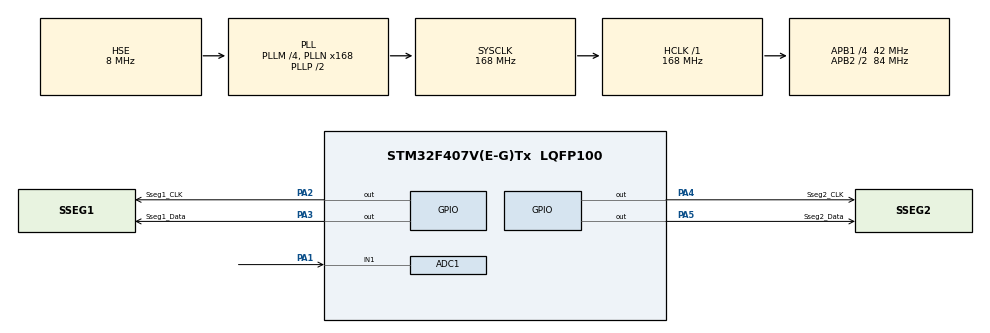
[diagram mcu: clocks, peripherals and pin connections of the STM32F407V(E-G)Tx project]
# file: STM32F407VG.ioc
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ADC1.Channel-2\#ChannelRegularConversion=ADC_CHANNEL_1
ADC1.Channel-3\#ChannelRegularConversion=ADC_CHANNEL_1
ADC1.Channel-4\#ChannelRegularConversion=ADC_CHANNEL_1
ADC1.Channel-5\#ChannelRegularConversion=ADC_CHANNEL_1
ADC1.Channel-6\#ChannelRegularConversion=ADC_CHANNEL_1
ADC1.ContinuousConvMode=ENABLE
ADC1.NbrOfConversion=5
ADC1.NbrOfConversionFlag=1
ADC1.Rank-2\#ChannelRegularConversion=1
ADC1.Rank-3\#ChannelRegularConversion=2
ADC1.Rank-4\#ChannelRegularConversion=3
ADC1.Rank-5\#ChannelRegularConversion=4
ADC1.Rank-6\#ChannelRegularConversion=5
ADC1.SamplingTime-2\#ChannelRegularConversion=ADC_SAMPLETIME_3CYCLES
ADC1.SamplingTime-3\#ChannelRegularConversion=ADC_SAMPLETIME_3CYCLES
ADC1.SamplingTime-4\#ChannelRegularConversion=ADC_SAMPLETIME_3CYCLES
ADC1.SamplingTime-5\#ChannelRegularConversion=ADC_SAMPLETIME_3CYCLES
ADC1.SamplingTime-6\#ChannelRegularConversion=ADC_SAMPLETIME_3CYCLES
ADC1.master=1
Mcu.Family=STM32F4
Mcu.Name=STM32F407V(E-G)Tx
Mcu.Package=LQFP100
NVIC.PriorityGroup=NVIC_PRIORITYGROUP_4
PA1.Signal=ADCx_IN1
PA13.Mode=Serial_Wire
PA13.Signal=SYS_JTMS-SWDIO
PA14.Mode=Serial_Wire
PA14.Signal=SYS_JTCK-SWCLK
PA2.GPIO_Label=Sseg1_CLK
PA2.Signal=GPIO_Output
PA3.GPIO_Label=Sseg1_Data
PA3.Signal=GPIO_Output
PA4.GPIO_Label=Sseg2_CLK
PA4.Signal=GPIO_Output
PA5.GPIO_Label=Sseg2_Data
PA5.Signal=GPIO_Output
PH0-OSC_IN.Mode=HSE-External-Oscillator
PH0-OSC_IN.Signal=RCC_OSC_IN
PH1-OSC_OUT.Mode=HSE-External-Oscillator
PH1-OSC_OUT.Signal=RCC_OSC_OUT
ProjectManager.HeapSize=0x200
ProjectManager.StackSize=0x400
ProjectManager.TargetToolchain=STM32CubeIDE
RCC.48MHZClocksFreq_Value=84000000
RCC.AHBFreq_Value=168000000
RCC.APB1CLKDivider=RCC_HCLK_DIV4
RCC.APB1Freq_Value=42000000
RCC.APB1TimFreq_Value=84000000
RCC.APB2CLKDivider=RCC_HCLK_DIV2
RCC.APB2Freq_Value=84000000
RCC.APB2TimFreq_Value=168000000
RCC.CortexFreq_Value=168000000
RCC.HCLKFreq_Value=168000000
RCC.HSE_VALUE=8000000
RCC.HSI_VALUE=16000000
RCC.LSE_VALUE=32768
RCC.PLLM=4
RCC.PLLN=168
RCC.PLLSourceVirtual=RCC_PLLSOURCE_HSE
RCC.SYSCLKFreq_VALUE=168000000
RCC.SYSCLKSource=RCC_SYSCLKSOURCE_PLLCLK
RCC.VCOOutputFreq_Value=336000000
SH.ADCx_IN1.0=ADC1_IN1,IN1
board=custom

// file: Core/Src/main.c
/* USER CODE BEGIN Header */
/**
 ******************************************************************************
 * @file           : main.c
 * @brief          : Main program body
 ******************************************************************************
 * @attention
 *
 * Copyright (c) 2021 STMicroelectronics.
 * All rights reserved.
 *
 * This software is licensed under terms that can be found in the LICENSE file
 * in the root directory of this software component.
 * If no LICENSE file comes with this software, it is provided AS-IS.
 *
 ******************************************************************************
 */
/* USER CODE END Header */
#include "main.h"
#include "adc.h"
#include "gpio.h"

/* USER CODE BEGIN Includes */
#include "stm32_tm1637.h"
#include <stdio.h>
/* USER CODE END Includes */

/* USER CODE BEGIN PV */
double ADCvalue, Resistance, Voltage, steinhart;
TM1637_structure Sseg1 = { .CLK_GPIO = Sseg1_CLK_GPIO_Port , .CLK_Pin = Sseg1_CLK_Pin , .Data_GPIO = Sseg1_Data_GPIO_Port ,
	.Data_Pin = Sseg1_Data_Pin };
TM1637_structure Sseg2 = { .CLK_GPIO = Sseg2_CLK_GPIO_Port , .CLK_Pin = Sseg2_CLK_Pin , .Data_GPIO = Sseg2_Data_GPIO_Port ,
	.Data_Pin = Sseg2_Data_Pin };
/* USER CODE END PV */

void SystemClock_Config(void);

int main(void)
{

	/* MCU Configuration--------------------------------------------------------*/

	/* Reset of all peripherals, Initializes the Flash interface and the Systick. */
	HAL_Init();

	/* Configure the system clock */
	SystemClock_Config();

	/* Initialize all configured peripherals */
	MX_GPIO_Init();
	MX_ADC1_Init();
	/* USER CODE BEGIN 2 */
	tm1637Init(Sseg1);
	tm1637Init(Sseg2);
	tm1637SetBrightness(Sseg1 , 8);
	tm1637SetBrightness(Sseg2 , 8);
	/* USER CODE END 2 */

	/* Infinite loop */
	/* USER CODE BEGIN WHILE */
	double adc_temp = { 0 };
#define SERIESRESISTOR 10000
#define NOMINAL_RESISTANCE 100000
#define NOMINAL_TEMPERATURE 25
#define BCOEFFICIENT 3950
	while(1)
	{
		for(int var = 0 ; var < 50 ; ++var)
		{
			HAL_ADC_Start(&hadc1);
			HAL_Delay(5);
			adc_temp = HAL_ADC_GetValue(&hadc1);
			ADCvalue += adc_temp;
		}
		ADCvalue /= 50;

//convert value to resistance
		Resistance = (4096 / ADCvalue) - 1;
		Resistance = SERIESRESISTOR / Resistance;

		steinhart = Resistance / NOMINAL_RESISTANCE;// (R/Ro)
		steinhart = log(steinhart);// ln(R/Ro)
		steinhart /= BCOEFFICIENT;// 1/B * ln(R/Ro)
		steinhart += 1.0 / (NOMINAL_TEMPERATURE + 273.15);// + (1/To)
		steinhart = 1.0 / steinhart;// Invert
		steinhart -= 273.15;// convert to C

		Voltage = (ADCvalue * 3.3) / 4096;

		char str[5] = { 0 };
		sprintf(str , "%.4d" , (int) steinhart);
		tm1637Display(Sseg1 , str);
		sprintf(str , "%f" , Voltage);
		tm1637Display(Sseg2 , str);
		HAL_Delay(100);

		/* USER CODE END WHILE */

	}
}

void SystemClock_Config(void)
{
	RCC_OscInitTypeDef RCC_OscInitStruct = { 0 };
	RCC_ClkInitTypeDef RCC_ClkInitStruct = { 0 };

	/** Configure the main internal regulator output voltage
	 */
	__HAL_RCC_PWR_CLK_ENABLE();
	__HAL_PWR_VOLTAGESCALING_CONFIG(PWR_REGULATOR_VOLTAGE_SCALE1);
	/** Initializes the RCC Oscillators according to the specified parameters
	 * in the RCC_OscInitTypeDef structure.
	 */
	RCC_OscInitStruct.OscillatorType = RCC_OSCILLATORTYPE_HSE;
	RCC_OscInitStruct.HSEState = RCC_HSE_ON;
	RCC_OscInitStruct.PLL.PLLState = RCC_PLL_ON;
	RCC_OscInitStruct.PLL.PLLSource = RCC_PLLSOURCE_HSE;
	RCC_OscInitStruct.PLL.PLLM = 4;
	RCC_OscInitStruct.PLL.PLLN = 168;
	RCC_OscInitStruct.PLL.PLLP = RCC_PLLP_DIV2;
	RCC_OscInitStruct.PLL.PLLQ = 4;
	if(HAL_RCC_OscConfig(&RCC_OscInitStruct) != HAL_OK)
	{
		Error_Handler();
	}
	/** Initializes the CPU, AHB and APB buses clocks
	 */
	RCC_ClkInitStruct.ClockType = RCC_CLOCKTYPE_HCLK | RCC_CLOCKTYPE_SYSCLK | RCC_CLOCKTYPE_PCLK1 | RCC_CLOCKTYPE_PCLK2;
	RCC_ClkInitStruct.SYSCLKSource = RCC_SYSCLKSOURCE_PLLCLK;
	RCC_ClkInitStruct.AHBCLKDivider = RCC_SYSCLK_DIV1;
	RCC_ClkInitStruct.APB1CLKDivider = RCC_HCLK_DIV4;
	RCC_ClkInitStruct.APB2CLKDivider = RCC_HCLK_DIV2;

	if(HAL_RCC_ClockConfig(&RCC_ClkInitStruct , FLASH_LATENCY_5) != HAL_OK)
	{
		Error_Handler();
	}
}

void Error_Handler(void)
{
	__disable_irq();
	while(1)
	{
	}
}
